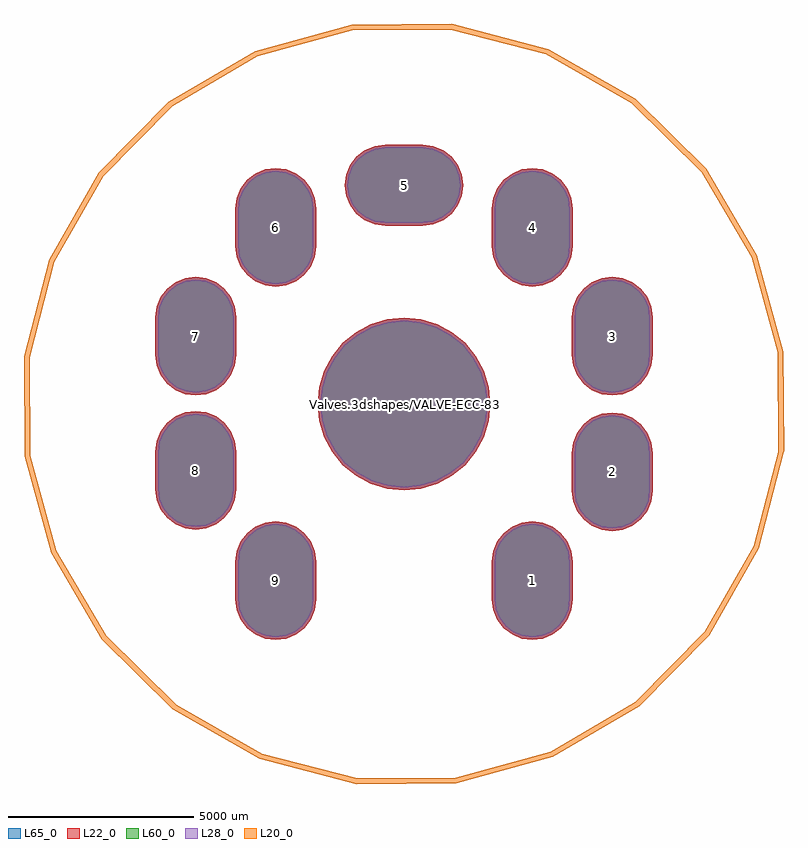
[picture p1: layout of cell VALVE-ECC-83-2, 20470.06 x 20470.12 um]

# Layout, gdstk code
import gdstk
lib = gdstk.Library(unit=1e-6, precision=1e-09)
def P(c, l, *ps):  # polygons
    for p in ps: c.add(gdstk.Polygon(p, *l))
L20_0 = (20, 0)
L22_0 = (22, 0)
L28_0 = (28, 0)
L60_0 = (60, 0)
L65_0 = (65, 0)

valve_ecc_83_2 = lib.new_cell('VALVE-ECC-83-2')
P(valve_ecc_83_2, L22_0, [(2325.44,0),(2280.757,453.671),(2148.426,889.907),(1933.533,1291.945),(1644.334,1644.334),(1291.945,1933.533),(889.907,2148.426),(453.671,2280.757),(0,2325.44),(-453.671,2280.757),(-889.907,2148.426),(-1291.945,1933.533),(-1644.334,1644.334),(-1933.533,1291.945),(-2148.426,889.907),(-2280.757,453.671),(-2325.44,0),(-2280.757,-453.671),(-2148.426,-889.907),(-1933.533,-1291.945),(-1644.334,-1644.334),(-1291.945,-1933.533),(-889.907,-2148.426),(-453.671,-2280.757),(0,-2325.44),(453.671,-2280.757),(889.907,-2148.426),(1291.945,-1933.533),(1644.334,-1644.334),(1933.533,-1291.945),(2148.426,-889.907),(2280.757,-453.671)],
  [(-3454.4,-6353.88),(-3172.028,-6316.705),(-2908.9,-6207.714),(-2682.947,-6034.333),(-2509.566,-5808.38),(-2400.575,-5545.252),(-2363.4,-5262.88),(-2363.4,-4246.88),(-2400.575,-3964.508),(-2509.566,-3701.38),(-2682.947,-3475.427),(-2908.9,-3302.046),(-3172.028,-3193.055),(-3454.4,-3155.88),(-3736.772,-3193.055),(-3999.9,-3302.046),(-4225.853,-3475.427),(-4399.234,-3701.38),(-4508.225,-3964.508),(-4545.4,-4246.88),(-4545.4,-5262.88),(-4508.225,-5545.252),(-4399.234,-5808.38),(-4225.853,-6034.333),(-3999.9,-6207.714),(-3736.772,-6316.705)],
  [(-5608.32,-3387.16),(-5325.948,-3349.985),(-5062.82,-3240.994),(-4836.867,-3067.613),(-4663.486,-2841.66),(-4554.495,-2578.532),(-4517.32,-2296.16),(-4517.32,-1280.16),(-4554.495,-997.788),(-4663.486,-734.66),(-4836.867,-508.707),(-5062.82,-335.326),(-5325.948,-226.335),(-5608.32,-189.16),(-5890.692,-226.335),(-6153.82,-335.326),(-6379.773,-508.707),(-6553.154,-734.66),(-6662.145,-997.788),(-6699.32,-1280.16),(-6699.32,-2296.16),(-6662.145,-2578.532),(-6553.154,-2841.66),(-6379.773,-3067.613),(-6153.82,-3240.994),(-5890.692,-3349.985)],
  [(-5608.32,229.8),(-5325.948,266.975),(-5062.82,375.966),(-4836.867,549.347),(-4663.486,775.3),(-4554.495,1038.428),(-4517.32,1320.8),(-4517.32,2336.8),(-4554.495,2619.172),(-4663.486,2882.3),(-4836.867,3108.253),(-5062.82,3281.634),(-5325.948,3390.625),(-5608.32,3427.8),(-5890.692,3390.625),(-6153.82,3281.634),(-6379.773,3108.253),(-6553.154,2882.3),(-6662.145,2619.172),(-6699.32,2336.8),(-6699.32,1320.8),(-6662.145,1038.428),(-6553.154,775.3),(-6379.773,549.347),(-6153.82,375.966),(-5890.692,266.975)],
  [(-3454.4,3155.88),(-3172.028,3193.055),(-2908.9,3302.046),(-2682.947,3475.427),(-2509.566,3701.38),(-2400.575,3964.508),(-2363.4,4246.88),(-2363.4,5262.88),(-2400.575,5545.252),(-2509.566,5808.38),(-2682.947,6034.333),(-2908.9,6207.714),(-3172.028,6316.705),(-3454.4,6353.88),(-3736.772,6316.705),(-3999.9,6207.714),(-4225.853,6034.333),(-4399.234,5808.38),(-4508.225,5545.252),(-4545.4,5262.88),(-4545.4,4246.88),(-4508.225,3964.508),(-4399.234,3701.38),(-4225.853,3475.427),(-3999.9,3302.046),(-3736.772,3193.055)],
  [(-508,4801.8),(508,4801.8),(790.372,4838.975),(1053.5,4947.966),(1279.453,5121.347),(1452.834,5347.3),(1561.825,5610.428),(1599,5892.8),(1561.825,6175.172),(1452.834,6438.3),(1279.453,6664.253),(1053.5,6837.634),(790.372,6946.625),(508,6983.8),(-508,6983.8),(-790.372,6946.625),(-1053.5,6837.634),(-1279.453,6664.253),(-1452.834,6438.3),(-1561.825,6175.172),(-1599,5892.8),(-1561.825,5610.428),(-1452.834,5347.3),(-1279.453,5121.347),(-1053.5,4947.966),(-790.372,4838.975)],
  [(3454.4,3155.88),(3736.772,3193.055),(3999.9,3302.046),(4225.853,3475.427),(4399.234,3701.38),(4508.225,3964.508),(4545.4,4246.88),(4545.4,5262.88),(4508.225,5545.252),(4399.234,5808.38),(4225.853,6034.333),(3999.9,6207.714),(3736.772,6316.705),(3454.4,6353.88),(3172.028,6316.705),(2908.9,6207.714),(2682.947,6034.333),(2509.566,5808.38),(2400.575,5545.252),(2363.4,5262.88),(2363.4,4246.88),(2400.575,3964.508),(2509.566,3701.38),(2682.947,3475.427),(2908.9,3302.046),(3172.028,3193.055)],
  [(5608.32,229.8),(5890.692,266.975),(6153.82,375.966),(6379.773,549.347),(6553.154,775.3),(6662.145,1038.428),(6699.32,1320.8),(6699.32,2336.8),(6662.145,2619.172),(6553.154,2882.3),(6379.773,3108.253),(6153.82,3281.634),(5890.692,3390.625),(5608.32,3427.8),(5325.948,3390.625),(5062.82,3281.634),(4836.867,3108.253),(4663.486,2882.3),(4554.495,2619.172),(4517.32,2336.8),(4517.32,1320.8),(4554.495,1038.428),(4663.486,775.3),(4836.867,549.347),(5062.82,375.966),(5325.948,266.975)],
  [(5608.32,-3427.8),(5890.692,-3390.625),(6153.82,-3281.634),(6379.773,-3108.253),(6553.154,-2882.3),(6662.145,-2619.172),(6699.32,-2336.8),(6699.32,-1320.8),(6662.145,-1038.428),(6553.154,-775.3),(6379.773,-549.347),(6153.82,-375.966),(5890.692,-266.975),(5608.32,-229.8),(5325.948,-266.975),(5062.82,-375.966),(4836.867,-549.347),(4663.486,-775.3),(4554.495,-1038.428),(4517.32,-1320.8),(4517.32,-2336.8),(4554.495,-2619.172),(4663.486,-2882.3),(4836.867,-3108.253),(5062.82,-3281.634),(5325.948,-3390.625)],
  [(3454.4,-6353.88),(3736.772,-6316.705),(3999.9,-6207.714),(4225.853,-6034.333),(4399.234,-5808.38),(4508.225,-5545.252),(4545.4,-5262.88),(4545.4,-4246.88),(4508.225,-3964.508),(4399.234,-3701.38),(4225.853,-3475.427),(3999.9,-3302.046),(3736.772,-3193.055),(3454.4,-3155.88),(3172.028,-3193.055),(2908.9,-3302.046),(2682.947,-3475.427),(2509.566,-3701.38),(2400.575,-3964.508),(2363.4,-4246.88),(2363.4,-5262.88),(2400.575,-5545.252),(2509.566,-5808.38),(2682.947,-6034.333),(2908.9,-6207.714),(3172.028,-6316.705)])
P(valve_ecc_83_2, L28_0, [(2250.44,0),(2207.198,439.039),(2079.135,861.206),(1871.172,1250.277),(1591.301,1591.301),(1250.277,1871.172),(861.206,2079.135),(439.039,2207.198),(0,2250.44),(-439.039,2207.198),(-861.206,2079.135),(-1250.277,1871.172),(-1591.301,1591.301),(-1871.172,1250.277),(-2079.135,861.206),(-2207.198,439.039),(-2250.44,0),(-2207.198,-439.039),(-2079.135,-861.206),(-1871.172,-1250.277),(-1591.301,-1591.301),(-1250.277,-1871.172),(-861.206,-2079.135),(-439.039,-2207.198),(0,-2250.44),(439.039,-2207.198),(861.206,-2079.135),(1250.277,-1871.172),(1591.301,-1591.301),(1871.172,-1250.277),(2079.135,-861.206),(2207.198,-439.039)],
  [(-3454.4,-6278.88),(-3191.44,-6244.261),(-2946.4,-6142.762),(-2735.98,-5981.3),(-2574.518,-5770.88),(-2473.019,-5525.84),(-2438.4,-5262.88),(-2438.4,-4246.88),(-2473.019,-3983.92),(-2574.518,-3738.88),(-2735.98,-3528.46),(-2946.4,-3366.998),(-3191.44,-3265.499),(-3454.4,-3230.88),(-3717.36,-3265.499),(-3962.4,-3366.998),(-4172.82,-3528.46),(-4334.282,-3738.88),(-4435.781,-3983.92),(-4470.4,-4246.88),(-4470.4,-5262.88),(-4435.781,-5525.84),(-4334.282,-5770.88),(-4172.82,-5981.3),(-3962.4,-6142.762),(-3717.36,-6244.261)],
  [(-5608.32,-3312.16),(-5345.36,-3277.541),(-5100.32,-3176.042),(-4889.9,-3014.58),(-4728.438,-2804.16),(-4626.939,-2559.12),(-4592.32,-2296.16),(-4592.32,-1280.16),(-4626.939,-1017.2),(-4728.438,-772.16),(-4889.9,-561.74),(-5100.32,-400.278),(-5345.36,-298.779),(-5608.32,-264.16),(-5871.28,-298.779),(-6116.32,-400.278),(-6326.74,-561.74),(-6488.202,-772.16),(-6589.701,-1017.2),(-6624.32,-1280.16),(-6624.32,-2296.16),(-6589.701,-2559.12),(-6488.202,-2804.16),(-6326.74,-3014.58),(-6116.32,-3176.042),(-5871.28,-3277.541)],
  [(-5608.32,304.8),(-5345.36,339.419),(-5100.32,440.918),(-4889.9,602.38),(-4728.438,812.8),(-4626.939,1057.84),(-4592.32,1320.8),(-4592.32,2336.8),(-4626.939,2599.76),(-4728.438,2844.8),(-4889.9,3055.22),(-5100.32,3216.682),(-5345.36,3318.181),(-5608.32,3352.8),(-5871.28,3318.181),(-6116.32,3216.682),(-6326.74,3055.22),(-6488.202,2844.8),(-6589.701,2599.76),(-6624.32,2336.8),(-6624.32,1320.8),(-6589.701,1057.84),(-6488.202,812.8),(-6326.74,602.38),(-6116.32,440.918),(-5871.28,339.419)],
  [(-3454.4,3230.88),(-3191.44,3265.499),(-2946.4,3366.998),(-2735.98,3528.46),(-2574.518,3738.88),(-2473.019,3983.92),(-2438.4,4246.88),(-2438.4,5262.88),(-2473.019,5525.84),(-2574.518,5770.88),(-2735.98,5981.3),(-2946.4,6142.762),(-3191.44,6244.261),(-3454.4,6278.88),(-3717.36,6244.261),(-3962.4,6142.762),(-4172.82,5981.3),(-4334.282,5770.88),(-4435.781,5525.84),(-4470.4,5262.88),(-4470.4,4246.88),(-4435.781,3983.92),(-4334.282,3738.88),(-4172.82,3528.46),(-3962.4,3366.998),(-3717.36,3265.499)],
  [(-508,4876.8),(508,4876.8),(770.96,4911.419),(1016,5012.918),(1226.42,5174.38),(1387.882,5384.8),(1489.381,5629.84),(1524,5892.8),(1489.381,6155.76),(1387.882,6400.8),(1226.42,6611.22),(1016,6772.682),(770.96,6874.181),(508,6908.8),(-508,6908.8),(-770.96,6874.181),(-1016,6772.682),(-1226.42,6611.22),(-1387.882,6400.8),(-1489.381,6155.76),(-1524,5892.8),(-1489.381,5629.84),(-1387.882,5384.8),(-1226.42,5174.38),(-1016,5012.918),(-770.96,4911.419)],
  [(3454.4,3230.88),(3717.36,3265.499),(3962.4,3366.998),(4172.82,3528.46),(4334.282,3738.88),(4435.781,3983.92),(4470.4,4246.88),(4470.4,5262.88),(4435.781,5525.84),(4334.282,5770.88),(4172.82,5981.3),(3962.4,6142.762),(3717.36,6244.261),(3454.4,6278.88),(3191.44,6244.261),(2946.4,6142.762),(2735.98,5981.3),(2574.518,5770.88),(2473.019,5525.84),(2438.4,5262.88),(2438.4,4246.88),(2473.019,3983.92),(2574.518,3738.88),(2735.98,3528.46),(2946.4,3366.998),(3191.44,3265.499)],
  [(5608.32,304.8),(5871.28,339.419),(6116.32,440.918),(6326.74,602.38),(6488.202,812.8),(6589.701,1057.84),(6624.32,1320.8),(6624.32,2336.8),(6589.701,2599.76),(6488.202,2844.8),(6326.74,3055.22),(6116.32,3216.682),(5871.28,3318.181),(5608.32,3352.8),(5345.36,3318.181),(5100.32,3216.682),(4889.9,3055.22),(4728.438,2844.8),(4626.939,2599.76),(4592.32,2336.8),(4592.32,1320.8),(4626.939,1057.84),(4728.438,812.8),(4889.9,602.38),(5100.32,440.918),(5345.36,339.419)],
  [(5608.32,-3352.8),(5871.28,-3318.181),(6116.32,-3216.682),(6326.74,-3055.22),(6488.202,-2844.8),(6589.701,-2599.76),(6624.32,-2336.8),(6624.32,-1320.8),(6589.701,-1057.84),(6488.202,-812.8),(6326.74,-602.38),(6116.32,-440.918),(5871.28,-339.419),(5608.32,-304.8),(5345.36,-339.419),(5100.32,-440.918),(4889.9,-602.38),(4728.438,-812.8),(4626.939,-1057.84),(4592.32,-1320.8),(4592.32,-2336.8),(4626.939,-2599.76),(4728.438,-2844.8),(4889.9,-3055.22),(5100.32,-3216.682),(5345.36,-3318.181)],
  [(3454.4,-6278.88),(3717.36,-6244.261),(3962.4,-6142.762),(4172.82,-5981.3),(4334.282,-5770.88),(4435.781,-5525.84),(4470.4,-5262.88),(4470.4,-4246.88),(4435.781,-3983.92),(4334.282,-3738.88),(4172.82,-3528.46),(3962.4,-3366.998),(3717.36,-3265.499),(3454.4,-3230.88),(3191.44,-3265.499),(2946.4,-3366.998),(2735.98,-3528.46),(2574.518,-3738.88),(2473.019,-3983.92),(2438.4,-4246.88),(2438.4,-5262.88),(2473.019,-5525.84),(2574.518,-5770.88),(2735.98,-5981.3),(2946.4,-6142.762),(3191.44,-6244.261)])
P(valve_ecc_83_2, L60_0, [(2250.44,0),(2207.198,439.039),(2079.135,861.206),(1871.172,1250.277),(1591.301,1591.301),(1250.277,1871.172),(861.206,2079.135),(439.039,2207.198),(0,2250.44),(-439.039,2207.198),(-861.206,2079.135),(-1250.277,1871.172),(-1591.301,1591.301),(-1871.172,1250.277),(-2079.135,861.206),(-2207.198,439.039),(-2250.44,0),(-2207.198,-439.039),(-2079.135,-861.206),(-1871.172,-1250.277),(-1591.301,-1591.301),(-1250.277,-1871.172),(-861.206,-2079.135),(-439.039,-2207.198),(0,-2250.44),(439.039,-2207.198),(861.206,-2079.135),(1250.277,-1871.172),(1591.301,-1591.301),(1871.172,-1250.277),(2079.135,-861.206),(2207.198,-439.039)],
  [(-3454.4,-6278.88),(-3191.44,-6244.261),(-2946.4,-6142.762),(-2735.98,-5981.3),(-2574.518,-5770.88),(-2473.019,-5525.84),(-2438.4,-5262.88),(-2438.4,-4246.88),(-2473.019,-3983.92),(-2574.518,-3738.88),(-2735.98,-3528.46),(-2946.4,-3366.998),(-3191.44,-3265.499),(-3454.4,-3230.88),(-3717.36,-3265.499),(-3962.4,-3366.998),(-4172.82,-3528.46),(-4334.282,-3738.88),(-4435.781,-3983.92),(-4470.4,-4246.88),(-4470.4,-5262.88),(-4435.781,-5525.84),(-4334.282,-5770.88),(-4172.82,-5981.3),(-3962.4,-6142.762),(-3717.36,-6244.261)],
  [(-5608.32,-3312.16),(-5345.36,-3277.541),(-5100.32,-3176.042),(-4889.9,-3014.58),(-4728.438,-2804.16),(-4626.939,-2559.12),(-4592.32,-2296.16),(-4592.32,-1280.16),(-4626.939,-1017.2),(-4728.438,-772.16),(-4889.9,-561.74),(-5100.32,-400.278),(-5345.36,-298.779),(-5608.32,-264.16),(-5871.28,-298.779),(-6116.32,-400.278),(-6326.74,-561.74),(-6488.202,-772.16),(-6589.701,-1017.2),(-6624.32,-1280.16),(-6624.32,-2296.16),(-6589.701,-2559.12),(-6488.202,-2804.16),(-6326.74,-3014.58),(-6116.32,-3176.042),(-5871.28,-3277.541)],
  [(-5608.32,304.8),(-5345.36,339.419),(-5100.32,440.918),(-4889.9,602.38),(-4728.438,812.8),(-4626.939,1057.84),(-4592.32,1320.8),(-4592.32,2336.8),(-4626.939,2599.76),(-4728.438,2844.8),(-4889.9,3055.22),(-5100.32,3216.682),(-5345.36,3318.181),(-5608.32,3352.8),(-5871.28,3318.181),(-6116.32,3216.682),(-6326.74,3055.22),(-6488.202,2844.8),(-6589.701,2599.76),(-6624.32,2336.8),(-6624.32,1320.8),(-6589.701,1057.84),(-6488.202,812.8),(-6326.74,602.38),(-6116.32,440.918),(-5871.28,339.419)],
  [(-3454.4,3230.88),(-3191.44,3265.499),(-2946.4,3366.998),(-2735.98,3528.46),(-2574.518,3738.88),(-2473.019,3983.92),(-2438.4,4246.88),(-2438.4,5262.88),(-2473.019,5525.84),(-2574.518,5770.88),(-2735.98,5981.3),(-2946.4,6142.762),(-3191.44,6244.261),(-3454.4,6278.88),(-3717.36,6244.261),(-3962.4,6142.762),(-4172.82,5981.3),(-4334.282,5770.88),(-4435.781,5525.84),(-4470.4,5262.88),(-4470.4,4246.88),(-4435.781,3983.92),(-4334.282,3738.88),(-4172.82,3528.46),(-3962.4,3366.998),(-3717.36,3265.499)],
  [(-508,4876.8),(508,4876.8),(770.96,4911.419),(1016,5012.918),(1226.42,5174.38),(1387.882,5384.8),(1489.381,5629.84),(1524,5892.8),(1489.381,6155.76),(1387.882,6400.8),(1226.42,6611.22),(1016,6772.682),(770.96,6874.181),(508,6908.8),(-508,6908.8),(-770.96,6874.181),(-1016,6772.682),(-1226.42,6611.22),(-1387.882,6400.8),(-1489.381,6155.76),(-1524,5892.8),(-1489.381,5629.84),(-1387.882,5384.8),(-1226.42,5174.38),(-1016,5012.918),(-770.96,4911.419)],
  [(3454.4,3230.88),(3717.36,3265.499),(3962.4,3366.998),(4172.82,3528.46),(4334.282,3738.88),(4435.781,3983.92),(4470.4,4246.88),(4470.4,5262.88),(4435.781,5525.84),(4334.282,5770.88),(4172.82,5981.3),(3962.4,6142.762),(3717.36,6244.261),(3454.4,6278.88),(3191.44,6244.261),(2946.4,6142.762),(2735.98,5981.3),(2574.518,5770.88),(2473.019,5525.84),(2438.4,5262.88),(2438.4,4246.88),(2473.019,3983.92),(2574.518,3738.88),(2735.98,3528.46),(2946.4,3366.998),(3191.44,3265.499)],
  [(5608.32,304.8),(5871.28,339.419),(6116.32,440.918),(6326.74,602.38),(6488.202,812.8),(6589.701,1057.84),(6624.32,1320.8),(6624.32,2336.8),(6589.701,2599.76),(6488.202,2844.8),(6326.74,3055.22),(6116.32,3216.682),(5871.28,3318.181),(5608.32,3352.8),(5345.36,3318.181),(5100.32,3216.682),(4889.9,3055.22),(4728.438,2844.8),(4626.939,2599.76),(4592.32,2336.8),(4592.32,1320.8),(4626.939,1057.84),(4728.438,812.8),(4889.9,602.38),(5100.32,440.918),(5345.36,339.419)],
  [(5608.32,-3352.8),(5871.28,-3318.181),(6116.32,-3216.682),(6326.74,-3055.22),(6488.202,-2844.8),(6589.701,-2599.76),(6624.32,-2336.8),(6624.32,-1320.8),(6589.701,-1057.84),(6488.202,-812.8),(6326.74,-602.38),(6116.32,-440.918),(5871.28,-339.419),(5608.32,-304.8),(5345.36,-339.419),(5100.32,-440.918),(4889.9,-602.38),(4728.438,-812.8),(4626.939,-1057.84),(4592.32,-1320.8),(4592.32,-2336.8),(4626.939,-2599.76),(4728.438,-2844.8),(4889.9,-3055.22),(5100.32,-3216.682),(5345.36,-3318.181)],
  [(3454.4,-6278.88),(3717.36,-6244.261),(3962.4,-6142.762),(4172.82,-5981.3),(4334.282,-5770.88),(4435.781,-5525.84),(4470.4,-5262.88),(4470.4,-4246.88),(4435.781,-3983.92),(4334.282,-3738.88),(4172.82,-3528.46),(3962.4,-3366.998),(3717.36,-3265.499),(3454.4,-3230.88),(3191.44,-3265.499),(2946.4,-3366.998),(2735.98,-3528.46),(2574.518,-3738.88),(2473.019,-3983.92),(2438.4,-4246.88),(2438.4,-5262.88),(2473.019,-5525.84),(2574.518,-5770.88),(2735.98,-5981.3),(2946.4,-6142.762),(3191.44,-6244.261)])
P(valve_ecc_83_2, L65_0, [(2325.44,0),(2280.757,453.671),(2148.426,889.907),(1933.533,1291.945),(1644.334,1644.334),(1291.945,1933.533),(889.907,2148.426),(453.671,2280.757),(0,2325.44),(-453.671,2280.757),(-889.907,2148.426),(-1291.945,1933.533),(-1644.334,1644.334),(-1933.533,1291.945),(-2148.426,889.907),(-2280.757,453.671),(-2325.44,0),(-2280.757,-453.671),(-2148.426,-889.907),(-1933.533,-1291.945),(-1644.334,-1644.334),(-1291.945,-1933.533),(-889.907,-2148.426),(-453.671,-2280.757),(0,-2325.44),(453.671,-2280.757),(889.907,-2148.426),(1291.945,-1933.533),(1644.334,-1644.334),(1933.533,-1291.945),(2148.426,-889.907),(2280.757,-453.671)],
  [(-3454.4,-6353.88),(-3172.028,-6316.705),(-2908.9,-6207.714),(-2682.947,-6034.333),(-2509.566,-5808.38),(-2400.575,-5545.252),(-2363.4,-5262.88),(-2363.4,-4246.88),(-2400.575,-3964.508),(-2509.566,-3701.38),(-2682.947,-3475.427),(-2908.9,-3302.046),(-3172.028,-3193.055),(-3454.4,-3155.88),(-3736.772,-3193.055),(-3999.9,-3302.046),(-4225.853,-3475.427),(-4399.234,-3701.38),(-4508.225,-3964.508),(-4545.4,-4246.88),(-4545.4,-5262.88),(-4508.225,-5545.252),(-4399.234,-5808.38),(-4225.853,-6034.333),(-3999.9,-6207.714),(-3736.772,-6316.705)],
  [(-5608.32,-3387.16),(-5325.948,-3349.985),(-5062.82,-3240.994),(-4836.867,-3067.613),(-4663.486,-2841.66),(-4554.495,-2578.532),(-4517.32,-2296.16),(-4517.32,-1280.16),(-4554.495,-997.788),(-4663.486,-734.66),(-4836.867,-508.707),(-5062.82,-335.326),(-5325.948,-226.335),(-5608.32,-189.16),(-5890.692,-226.335),(-6153.82,-335.326),(-6379.773,-508.707),(-6553.154,-734.66),(-6662.145,-997.788),(-6699.32,-1280.16),(-6699.32,-2296.16),(-6662.145,-2578.532),(-6553.154,-2841.66),(-6379.773,-3067.613),(-6153.82,-3240.994),(-5890.692,-3349.985)],
  [(-5608.32,229.8),(-5325.948,266.975),(-5062.82,375.966),(-4836.867,549.347),(-4663.486,775.3),(-4554.495,1038.428),(-4517.32,1320.8),(-4517.32,2336.8),(-4554.495,2619.172),(-4663.486,2882.3),(-4836.867,3108.253),(-5062.82,3281.634),(-5325.948,3390.625),(-5608.32,3427.8),(-5890.692,3390.625),(-6153.82,3281.634),(-6379.773,3108.253),(-6553.154,2882.3),(-6662.145,2619.172),(-6699.32,2336.8),(-6699.32,1320.8),(-6662.145,1038.428),(-6553.154,775.3),(-6379.773,549.347),(-6153.82,375.966),(-5890.692,266.975)],
  [(-3454.4,3155.88),(-3172.028,3193.055),(-2908.9,3302.046),(-2682.947,3475.427),(-2509.566,3701.38),(-2400.575,3964.508),(-2363.4,4246.88),(-2363.4,5262.88),(-2400.575,5545.252),(-2509.566,5808.38),(-2682.947,6034.333),(-2908.9,6207.714),(-3172.028,6316.705),(-3454.4,6353.88),(-3736.772,6316.705),(-3999.9,6207.714),(-4225.853,6034.333),(-4399.234,5808.38),(-4508.225,5545.252),(-4545.4,5262.88),(-4545.4,4246.88),(-4508.225,3964.508),(-4399.234,3701.38),(-4225.853,3475.427),(-3999.9,3302.046),(-3736.772,3193.055)],
  [(-508,4801.8),(508,4801.8),(790.372,4838.975),(1053.5,4947.966),(1279.453,5121.347),(1452.834,5347.3),(1561.825,5610.428),(1599,5892.8),(1561.825,6175.172),(1452.834,6438.3),(1279.453,6664.253),(1053.5,6837.634),(790.372,6946.625),(508,6983.8),(-508,6983.8),(-790.372,6946.625),(-1053.5,6837.634),(-1279.453,6664.253),(-1452.834,6438.3),(-1561.825,6175.172),(-1599,5892.8),(-1561.825,5610.428),(-1452.834,5347.3),(-1279.453,5121.347),(-1053.5,4947.966),(-790.372,4838.975)],
  [(3454.4,3155.88),(3736.772,3193.055),(3999.9,3302.046),(4225.853,3475.427),(4399.234,3701.38),(4508.225,3964.508),(4545.4,4246.88),(4545.4,5262.88),(4508.225,5545.252),(4399.234,5808.38),(4225.853,6034.333),(3999.9,6207.714),(3736.772,6316.705),(3454.4,6353.88),(3172.028,6316.705),(2908.9,6207.714),(2682.947,6034.333),(2509.566,5808.38),(2400.575,5545.252),(2363.4,5262.88),(2363.4,4246.88),(2400.575,3964.508),(2509.566,3701.38),(2682.947,3475.427),(2908.9,3302.046),(3172.028,3193.055)],
  [(5608.32,229.8),(5890.692,266.975),(6153.82,375.966),(6379.773,549.347),(6553.154,775.3),(6662.145,1038.428),(6699.32,1320.8),(6699.32,2336.8),(6662.145,2619.172),(6553.154,2882.3),(6379.773,3108.253),(6153.82,3281.634),(5890.692,3390.625),(5608.32,3427.8),(5325.948,3390.625),(5062.82,3281.634),(4836.867,3108.253),(4663.486,2882.3),(4554.495,2619.172),(4517.32,2336.8),(4517.32,1320.8),(4554.495,1038.428),(4663.486,775.3),(4836.867,549.347),(5062.82,375.966),(5325.948,266.975)],
  [(5608.32,-3427.8),(5890.692,-3390.625),(6153.82,-3281.634),(6379.773,-3108.253),(6553.154,-2882.3),(6662.145,-2619.172),(6699.32,-2336.8),(6699.32,-1320.8),(6662.145,-1038.428),(6553.154,-775.3),(6379.773,-549.347),(6153.82,-375.966),(5890.692,-266.975),(5608.32,-229.8),(5325.948,-266.975),(5062.82,-375.966),(4836.867,-549.347),(4663.486,-775.3),(4554.495,-1038.428),(4517.32,-1320.8),(4517.32,-2336.8),(4554.495,-2619.172),(4663.486,-2882.3),(4836.867,-3108.253),(5062.82,-3281.634),(5325.948,-3390.625)],
  [(3454.4,-6353.88),(3736.772,-6316.705),(3999.9,-6207.714),(4225.853,-6034.333),(4399.234,-5808.38),(4508.225,-5545.252),(4545.4,-5262.88),(4545.4,-4246.88),(4508.225,-3964.508),(4399.234,-3701.38),(4225.853,-3475.427),(3999.9,-3302.046),(3736.772,-3193.055),(3454.4,-3155.88),(3172.028,-3193.055),(2908.9,-3302.046),(2682.947,-3475.427),(2509.566,-3701.38),(2400.575,-3964.508),(2363.4,-4246.88),(2363.4,-5262.88),(2400.575,-5545.252),(2509.566,-5808.38),(2682.947,-6034.333),(2908.9,-6207.714),(3172.028,-6316.705)])
valve_ecc_83_2.add(gdstk.FlexPath([(10160,-1270),(10142.507,1402.876),(9433.818,3980.148),(8082.231,6286.179),(6179.852,8163.818),(3856.327,9485.106),(1270,10160),(-1402.876,10142.507),(-3980.148,9433.818),(-6286.179,8082.231),(-8163.818,6179.852),(-9485.106,3856.327),(-10160,1270),(-10142.507,-1402.876),(-9433.818,-3980.148),(-8082.231,-6286.179),(-6179.852,-8163.818),(-3856.327,-9485.106),(-1270,-10160),(1402.876,-10142.507),(3980.148,-9433.818),(6286.179,-8082.231),(8163.818,-6179.852),(9485.106,-3856.327),(10160,-1270)], 149.998, ends="flush", simple_path=True, layer=20, datatype=0))  # L20_0
valve_ecc_83_2.add(gdstk.Label('Valves.3dshapes/VALVE-ECC-83-2.wrl', (0,0), layer=12, texttype=0))
valve_ecc_83_2.add(gdstk.Label('9', (-3454.4,-4754.88), layer=28, texttype=0))
valve_ecc_83_2.add(gdstk.Label('8', (-5608.32,-1788.16), layer=28, texttype=0))
valve_ecc_83_2.add(gdstk.Label('7', (-5608.32,1828.8), layer=28, texttype=0))
valve_ecc_83_2.add(gdstk.Label('6', (-3454.4,4754.88), layer=28, texttype=0))
valve_ecc_83_2.add(gdstk.Label('5', (0,5892.8), layer=28, texttype=0))
valve_ecc_83_2.add(gdstk.Label('4', (3454.4,4754.88), layer=28, texttype=0))
valve_ecc_83_2.add(gdstk.Label('3', (5608.32,1828.8), layer=28, texttype=0))
valve_ecc_83_2.add(gdstk.Label('2', (5608.32,-1828.8), layer=28, texttype=0))
valve_ecc_83_2.add(gdstk.Label('1', (3454.4,-4754.88), layer=28, texttype=0))
valve_ecc_83_2.add(gdstk.Label('type', (0,-11430), layer=9, texttype=0))
valve_ecc_83_2.add(gdstk.Label('devicename', (0,11430), layer=9, texttype=0))

lib.write_gds('VALVE-ECC-83-2.gds')
